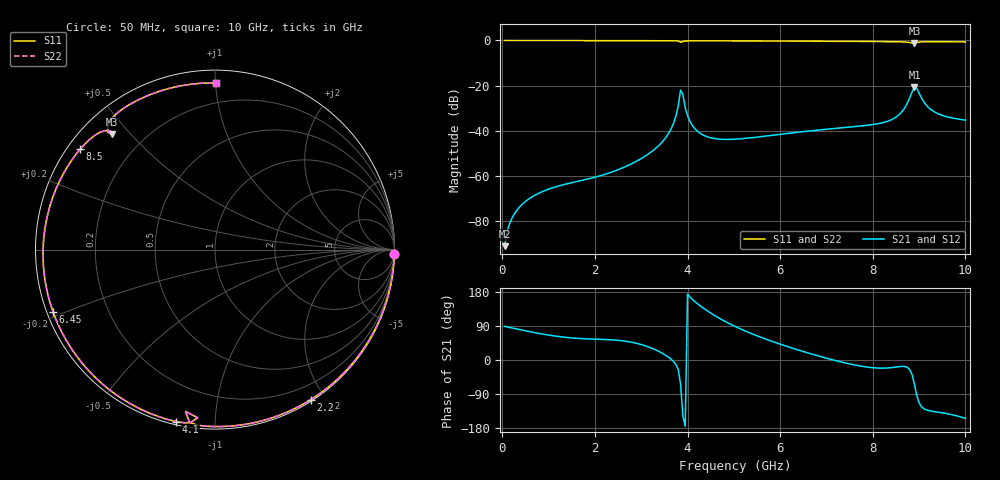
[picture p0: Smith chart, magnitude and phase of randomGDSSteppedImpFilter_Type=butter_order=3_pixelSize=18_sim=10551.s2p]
! freq	dB(S11)	phase(S11)	dB(S12)	phase(S12)
!  dB(S21)	phase(S21)	dB(S22)	phase(S22)
!S-par simulation data
#  GHz  S  DB  R 50
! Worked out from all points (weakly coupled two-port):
!   200 points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, 50 MHz to 10 GHz, reference 50 ohm
!   highest |S21| = -20.72 dB at 8.9 GHz (marker M1); lowest = -91.1 dB at 50 MHz (marker M2)
!   lowest |S11| = -1.3 dB at 8.9 GHz (marker M3), VSWR 13.50, Z = 4.44 + j22.2 ohm
!   |S11| at or under -10 dB: nowhere
!   |S22| runs from -1.3 to 0.0 dB; largest |S21 - S12| = 0
!   S11 on the Smith chart (normalised r, x): 50 MHz: 1, -84; 2.2 GHz: 0.02, -1.82; 4.1 GHz: 0.01, -0.80; 6.45 GHz: 0.02, -0.18; 8.5 GHz: 0.04, +0.33; 10 GHz: 0.07, +1.00
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0.05  -0.00 -1.4  -91.10 88.6  -91.10 88.6  -0.00 -1.4
0.75  -0.02 -20.0  -68.03 71.0  -68.03 71.0  -0.02 -20.0
1.75  -0.06 -46.0  -61.81 56.1  -61.81 56.1  -0.06 -46.0
2.2  -0.07 -57.5  -59.39 54.2  -59.39 54.2  -0.07 -57.5
2.9  -0.10 -74.9  -53.45 44.0  -53.45 44.0  -0.10 -74.9
3.4  -0.12 -87.2  -46.14 21.4  -46.14 21.4  -0.12 -87.2
3.7  -0.15 -94.9  -36.56 -4.3  -36.56 -4.3  -0.15 -94.9
3.8  -0.25 -98.4  -28.93 -25.2  -28.93 -25.2  -0.25 -98.4
3.85  -0.76 -100.3  -21.98 -64.6  -21.98 -64.6  -0.76 -100.3
3.9  -0.52 -95.8  -23.93 -148.3  -23.93 -148.3  -0.52 -95.9
4  -0.18 -99.9  -33.33 174.0  -33.33 174.0  -0.18 -99.9
4.1  -0.16 -102.7  -37.50 160.5  -37.50 160.5  -0.16 -102.7
4.45  -0.16 -111.4  -42.82 127.9  -42.82 127.9  -0.16 -111.4
5.05  -0.19 -125.5  -43.69 87.2  -43.69 87.2  -0.19 -125.5
6.45  -0.29 -159.1  -40.49 24.1  -40.49 24.1  -0.29 -159.1
6.7  -0.32 -165.3  -39.93 15.0  -39.93 15.0  -0.32 -165.4
8.35  -0.53 148.3  -35.56 -20.8  -35.56 -20.8  -0.53 148.2
8.5  -0.57 143.3  -33.96 -18.6  -33.96 -18.6  -0.57 143.2
8.7  -0.70 136.3  -29.49 -17.5  -29.49 -17.5  -0.70 136.2
8.9  -1.29 131.9  -20.72 -64.1  -20.72 -64.1  -1.29 131.8
9.3  -0.56 117.7  -31.26 -135.6  -31.26 -135.6  -0.56 117.6
10  -0.65 89.7  -35.28 -153.8  -35.28 -153.8  -0.65 89.5
